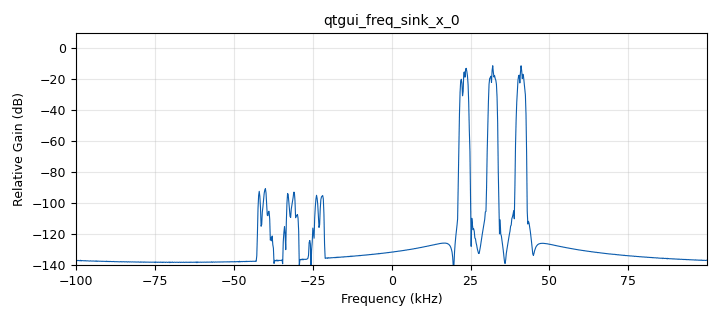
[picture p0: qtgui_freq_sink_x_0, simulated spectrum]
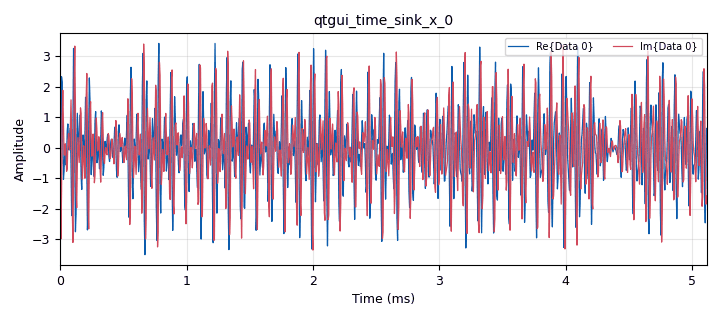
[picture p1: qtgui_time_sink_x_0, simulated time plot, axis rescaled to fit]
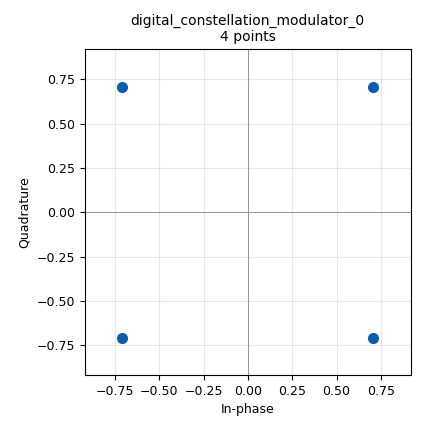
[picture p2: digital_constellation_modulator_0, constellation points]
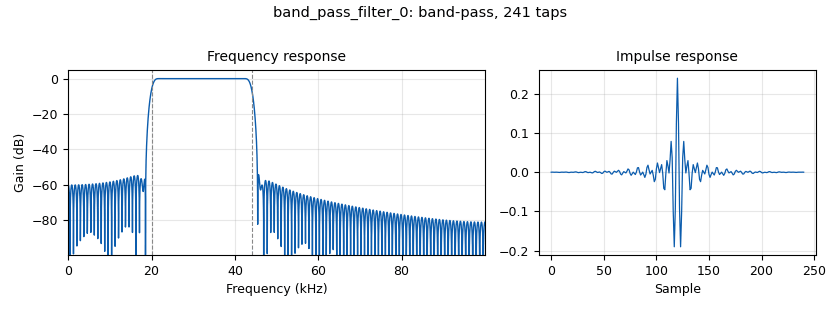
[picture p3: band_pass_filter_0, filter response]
options:
  parameters:
    author: Кулигин Артём
    generate_options: qt_gui
    id: lab2_PPY1
    output_language: python
    title: Лабораторная работа №2 - Часть 1
  states: {}

blocks:
- name: excess_bw
  id: variable
  parameters:
    value: '0.35'
  states: {}
- name: freq
  id: variable
  parameters:
    value: '9000'
  states: {}
- name: qpsk
  id: variable_constellation_rect
  parameters:
    const_points: '[-1-1j, -1+1j, 1+1j, 1-1j]'
    imag_sect: '2'
    real_sect: '2'
    rot_sym: '4'
    sym_map: '[0, 1, 3, 2]'
    w_imag_sect: '1'
    w_real_sect: '1'
  states: {}
- name: samp_rate
  id: variable
  parameters:
    value: '200000'
  states: {}
- name: sps
  id: variable
  parameters:
    value: '100'
  states: {}
- name: analog_sig_source_x_0
  id: analog_sig_source_x
  parameters:
    amp: '1'
    freq: '-freq'
    offset: '0'
    phase: '0'
    samp_rate: samp_rate
    type: complex
    waveform: analog.GR_COS_WAVE
  states: {}
- name: analog_sig_source_x_0_0
  id: analog_sig_source_x
  parameters:
    amp: '1'
    freq: '0'
    offset: '0'
    phase: '0'
    samp_rate: samp_rate
    type: complex
    waveform: analog.GR_COS_WAVE
  states: {}
- name: analog_sig_source_x_0_0_0
  id: analog_sig_source_x
  parameters:
    amp: '1'
    freq: '32000'
    offset: '0'
    phase: '0'
    samp_rate: samp_rate
    type: complex
    waveform: analog.GR_COS_WAVE
  states: {}
- name: analog_sig_source_x_0_1
  id: analog_sig_source_x
  parameters:
    amp: '1'
    freq: freq
    offset: '0'
    phase: '0'
    samp_rate: samp_rate
    type: complex
    waveform: analog.GR_COS_WAVE
  states: {}
- name: band_pass_filter_0
  id: band_pass_filter
  parameters:
    decim: '1'
    gain: '1'
    high_cutoff_freq: '44000'
    low_cutoff_freq: '20000'
    samp_rate: samp_rate
    type: fir_filter_ccf
    width: '2000'
    win: window.WIN_HAMMING
  states: {}
- name: blocks_add_xx_0
  id: blocks_add_xx
  parameters:
    num_inputs: '3'
    type: complex
  states: {}
- name: blocks_multiply_xx_0
  id: blocks_multiply_xx
  parameters:
    type: complex
  states: {}
- name: blocks_multiply_xx_0_0
  id: blocks_multiply_xx
  parameters:
    type: complex
  states: {}
- name: blocks_multiply_xx_0_1
  id: blocks_multiply_xx
  parameters:
    type: complex
  states: {}
- name: blocks_multiply_xx_1
  id: blocks_multiply_xx
  parameters:
    type: complex
  states: {}
- name: blocks_throttle2_0
  id: blocks_throttle2
  parameters:
    samples_per_second: samp_rate
    type: complex
  states: {}
- name: blocks_throttle2_0_0
  id: blocks_throttle2
  parameters:
    samples_per_second: samp_rate
    type: complex
  states: {}
- name: blocks_throttle2_0_0_0
  id: blocks_throttle2
  parameters:
    samples_per_second: samp_rate
    type: complex
  states: {}
- name: blocks_throttle2_0_1
  id: blocks_throttle2
  parameters:
    samples_per_second: samp_rate
    type: complex
  states: {}
- name: blocks_vector_source_x_0
  id: blocks_vector_source_x
  parameters:
    repeat: 'True'
    type: byte
    vector: (208, 154, 209, 131, 208, 187, 208, 184, 208, 179, 208, 184, 208, 189)
  states: {}
- name: blocks_vector_source_x_0_0
  id: blocks_vector_source_x
  parameters:
    repeat: 'True'
    type: byte
    vector: (208, 144, 209, 128, 209, 130, 209, 145, 208, 188)
  states: {}
- name: blocks_vector_source_x_0_1
  id: blocks_vector_source_x
  parameters:
    repeat: 'True'
    type: byte
    vector: (208, 146, 208, 184, 209, 130, 208, 176, 208, 187, 209, 140, 208, 181, 208, 178, 208, 184, 209, 135)
  states: {}
- name: digital_constellation_modulator_0
  id: digital_constellation_modulator
  parameters:
    constellation: qpsk
    differential: 'True'
    excess_bw: excess_bw
    samples_per_symbol: sps
  states: {}
- name: digital_constellation_modulator_0_0
  id: digital_constellation_modulator
  parameters:
    constellation: qpsk
    differential: 'True'
    excess_bw: excess_bw
    samples_per_symbol: sps
  states: {}
- name: digital_constellation_modulator_0_1
  id: digital_constellation_modulator
  parameters:
    constellation: qpsk
    differential: 'True'
    excess_bw: excess_bw
    samples_per_symbol: sps
  states: {}
- name: qtgui_freq_sink_x_0
  id: qtgui_freq_sink_x
  parameters:
    bw: samp_rate
    fc: '0'
    fftsize: '1024'
    type: complex
  states: {}
- name: qtgui_time_sink_x_0
  id: qtgui_time_sink_x
  parameters:
    size: '1024'
    srate: samp_rate
    type: complex
  states: {}
- name: rational_resampler_xxx_0
  id: rational_resampler_xxx
  parameters:
    decim: '1'
    interp: '1'
    type: ccc
  states: {}
- name: rational_resampler_xxx_0_0
  id: rational_resampler_xxx
  parameters:
    decim: '1'
    interp: '1'
    type: ccc
  states: {}
- name: rational_resampler_xxx_0_1
  id: rational_resampler_xxx
  parameters:
    decim: '1'
    interp: '1'
    type: ccc
  states: {}
- name: virtual_sink_0
  id: virtual_sink
  parameters:
    stream_id: out
  states: {}

connections:
- [analog_sig_source_x_0, '0', blocks_throttle2_0, '0']
- [analog_sig_source_x_0_0, '0', blocks_throttle2_0_0, '0']
- [analog_sig_source_x_0_0_0, '0', blocks_throttle2_0_0_0, '0']
- [analog_sig_source_x_0_1, '0', blocks_throttle2_0_1, '0']
- [band_pass_filter_0, '0', qtgui_freq_sink_x_0, '0']
- [band_pass_filter_0, '0', qtgui_time_sink_x_0, '0']
- [band_pass_filter_0, '0', virtual_sink_0, '0']
- [blocks_add_xx_0, '0', blocks_multiply_xx_1, '0']
- [blocks_multiply_xx_0, '0', blocks_add_xx_0, '0']
- [blocks_multiply_xx_0_0, '0', blocks_add_xx_0, '1']
- [blocks_multiply_xx_0_1, '0', blocks_add_xx_0, '2']
- [blocks_multiply_xx_1, '0', band_pass_filter_0, '0']
- [blocks_throttle2_0, '0', blocks_multiply_xx_0, '1']
- [blocks_throttle2_0_0, '0', blocks_multiply_xx_0_0, '1']
- [blocks_throttle2_0_0_0, '0', blocks_multiply_xx_1, '1']
- [blocks_throttle2_0_1, '0', blocks_multiply_xx_0_1, '1']
- [blocks_vector_source_x_0, '0', digital_constellation_modulator_0, '0']
- [blocks_vector_source_x_0_0, '0', digital_constellation_modulator_0_0, '0']
- [blocks_vector_source_x_0_1, '0', digital_constellation_modulator_0_1, '0']
- [digital_constellation_modulator_0, '0', rational_resampler_xxx_0, '0']
- [digital_constellation_modulator_0_0, '0', rational_resampler_xxx_0_0, '0']
- [digital_constellation_modulator_0_1, '0', rational_resampler_xxx_0_1, '0']
- [rational_resampler_xxx_0, '0', blocks_multiply_xx_0, '0']
- [rational_resampler_xxx_0_0, '0', blocks_multiply_xx_0_0, '0']
- [rational_resampler_xxx_0_1, '0', blocks_multiply_xx_0_1, '0']

metadata:
  file_format: 1
  grc_version: 3.10.10.0
